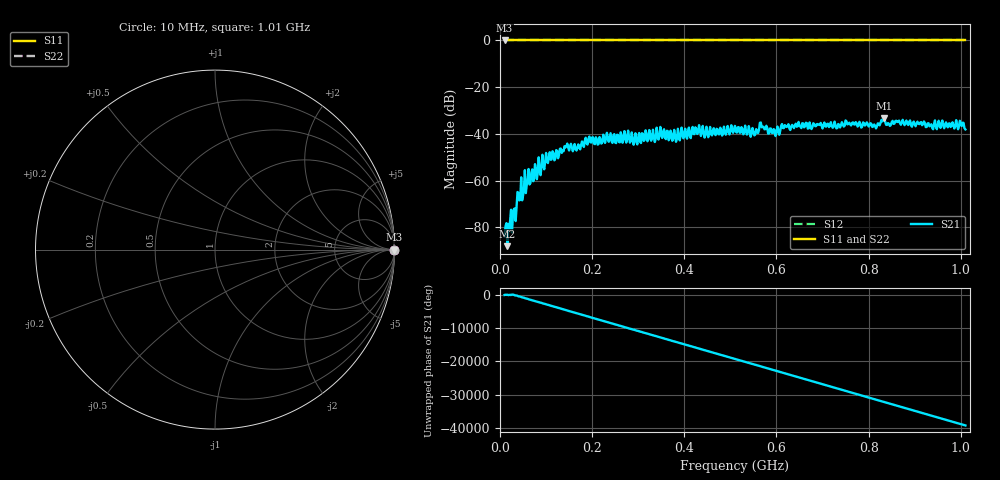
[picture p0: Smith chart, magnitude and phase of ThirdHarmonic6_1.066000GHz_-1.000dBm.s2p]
! 8/16/2025 9:36:57 AM
! C:\ANRITSUVNA\TEMP\TEMP.S2P
! CHANNEL.1
! TR.MEASUREMENT
! RAW.DATA
! RF.CORRECTION.OFF
! AVERAGING.OFF
! IF.BANDWIDTH: 5KHZ
! SWEEPTYPE:  FREQ.SWEEP(Linear)
! Reference Plane Port Info
! PORT:  PORT1  PORT2
! DISTANCE:  0  m  0  m
! TIME:  0  s  0  s
! PHASE.OFFSET:  0  deg.  0  deg.
! LOSS:  0  dB  0  dB
! REF.LOSS:  0  dB  0  dB
! REF.FREQ:  0  Hz  0  Hz
! Power Info
! POWER:  -20  dBm  -20  dBm
! EFF.POWER:  -20  dBm  -20  dBm
! SOURCE.ATTEN:  0  dB  0  dB
! TEST.ATTEN:  0  dB  0  dB
# GHZ S RI R 50.0
! FREQ.GHZ  S11RE  S11IM  S21RE  S21IM  S12RE  S12IM  S22RE  S22IM
!; PortSelection: Port_12
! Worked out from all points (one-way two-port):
!   501 points, 10 MHz to 1.01 GHz, reference 50 ohm
!   highest |S21| = -33.41 dB at 834 MHz (marker M1); lowest = -88.1 dB at 16 MHz (marker M2)
!   lowest |S11| = 0.0 dB at 10 MHz (marker M3)
!   |S11| at or under -10 dB: nowhere
!   |S22| runs from 0.0 to 0.0 dB; largest |S21 - S12| = 1
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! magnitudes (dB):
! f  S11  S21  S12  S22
! 10 MHz  0.0  -84.0  0.0  0.0
! 16 MHz  0.0  -88.1  0.0  0.0
! 30 MHz  0.0  -72.4  0.0  0.0
! 42 MHz  0.0  -68.5  0.0  0.0
! 46 MHz  0.0  -58.6  0.0  0.0
! 58 MHz  0.0  -62.0  0.0  0.0
! 80 MHz  0.0  -59.4  0.0  0.0
! 144 MHz  0.0  -45.3  0.0  0.0
! 178 MHz  0.0  -43.3  0.0  0.0
! 198 MHz  0.0  -43.7  0.0  0.0
! 274 MHz  0.0  -43.7  0.0  0.0
! 294 MHz  0.0  -39.8  0.0  0.0
! 344 MHz  0.0  -42.5  0.0  0.0
! 378 MHz  0.0  -38.3  0.0  0.0
! 428 MHz  0.0  -40.1  0.0  0.0
! 510 MHz  0.0  -36.6  0.0  0.0
! 678 MHz  0.0  -37.1  0.0  0.0
! 812 MHz  0.0  -36.0  0.0  0.0
! 834 MHz  0.0  -33.4  0.0  0.0
! 844 MHz  0.0  -35.7  0.0  0.0
! 1.002 GHz  0.0  -36.7  0.0  0.0
! 1.01 GHz  0.0  -38.1  0.0  0.0
